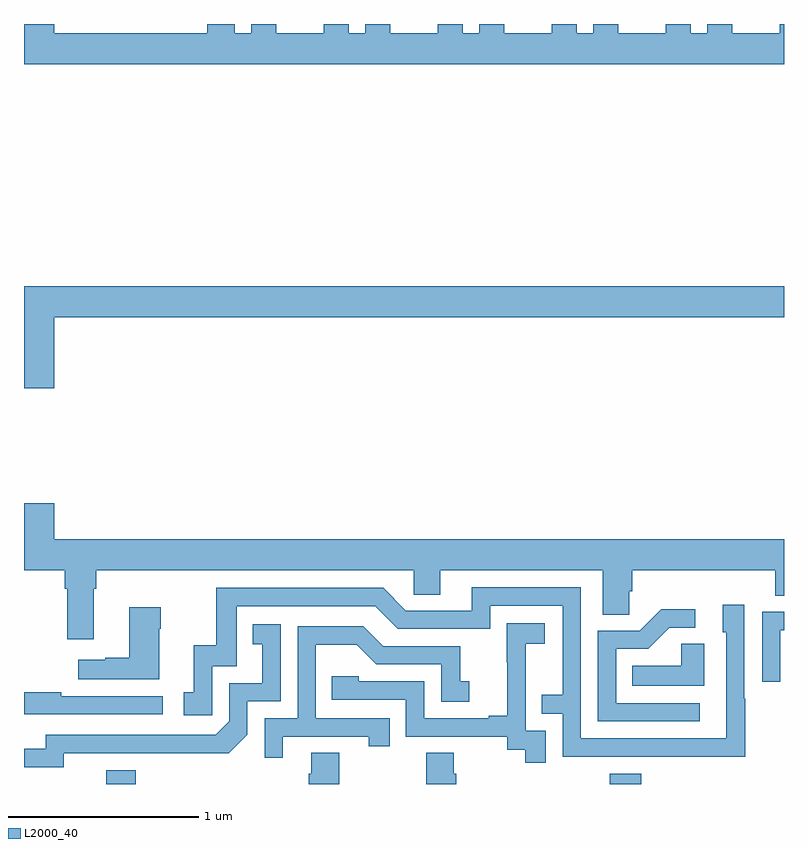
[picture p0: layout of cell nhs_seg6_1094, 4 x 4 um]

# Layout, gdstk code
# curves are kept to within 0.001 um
import gdstk
lib = gdstk.Library(unit=1e-6, precision=1e-09)
def R(c, l, rs):  # rectangles x0, y0, x1, y1
    for r in rs: c.add(gdstk.rectangle(r[:2], r[2:], *l))
def P(c, l, *ps):  # polygons
    for p in ps: c.add(gdstk.Polygon(p, *l))
L2000_40 = (2000, 40)

nhs_seg6_1094 = lib.new_cell('nhs_seg6_1094')
R(nhs_seg6_1094, L2000_40, [(177.434,991.5,177.587,991.573), (180.083,991.5,180.248,991.555)])
P(nhs_seg6_1094, L2000_40, [(181,995.5),(180.977,995.5),(180.977,995.452),(180.727,995.452),(180.727,995.5),(180.596,995.5),(180.596,995.452),(180.508,995.452),(180.508,995.5),(180.377,995.5),(180.377,995.452),(180.127,995.452),(180.127,995.5),(179.996,995.5),(179.996,995.452),(179.908,995.452),(179.908,995.5),(179.777,995.5),(179.777,995.452),(179.527,995.452),(179.527,995.5),(179.396,995.5),(179.396,995.452),(179.308,995.452),(179.308,995.5),(179.177,995.5),(179.177,995.452),(178.927,995.452),(178.927,995.5),(178.796,995.5),(178.796,995.452),(178.708,995.452),(178.708,995.5),(178.577,995.5),(178.577,995.452),(178.327,995.452),(178.327,995.5),(178.196,995.5),(178.196,995.452),(178.108,995.452),(178.108,995.5),(177.965,995.5),(177.965,995.452),(177.16,995.452),(177.16,995.5),(177,995.5),(177,995.288),(181,995.288)],
  [(177.16,993.956),(181,993.956),(181,994.12),(177,994.12),(177,993.582),(177.16,993.582)],
  [(177.367,992.528),(177.38,992.528),(177.38,992.624),(179.052,992.624),(179.052,992.497),(179.191,992.497),(179.191,992.624),(180.047,992.624),(180.047,992.392),(180.186,992.392),(180.186,992.515),(180.2,992.515),(180.2,992.624),(180.953,992.624),(180.953,992.491),(181,992.491),(181,992.788),(177.16,992.788),(177.16,992.977),(177,992.977),(177,992.624),(177.215,992.624),(177.215,992.528),(177.227,992.528),(177.227,992.262),(177.367,992.262)],
  [(180.795,991.949),(180.792,991.949),(180.792,992.443),(180.677,992.443),(180.677,992.298),(180.696,992.298),(180.696,991.74),(179.931,991.74),(179.931,992.535),(179.357,992.535),(179.357,992.412),(179.01,992.412),(178.89,992.532),(178.011,992.532),(178.011,992.23),(177.893,992.23),(177.893,991.983),(177.84,991.983),(177.84,991.863),(177.99,991.863),(177.99,992.121),(178.119,992.121),(178.119,992.436),(178.848,992.436),(178.968,992.316),(179.454,992.316),(179.454,992.439),(179.835,992.439),(179.835,991.97),(179.725,991.97),(179.725,991.869),(179.835,991.869),(179.835,991.644),(180.795,991.643)],
  [(177.712,992.318),(177.72,992.318),(177.72,992.431),(177.554,992.431),(177.554,992.165),(177.428,992.165),(177.428,992.155),(177.285,992.155),(177.285,992.051),(177.712,992.051)],
  [(180.556,991.926),(180.117,991.926),(180.117,992.211),(180.286,992.211),(180.397,992.322),(180.532,992.322),(180.532,992.42),(180.353,992.42),(180.24,992.307),(180.021,992.307),(180.021,991.83),(180.556,991.83)],
  [(180.981,992.31),(181,992.31),(181,992.406),(180.885,992.406),(180.885,992.037),(180.981,992.037)],
  [(179.745,991.779),(179.64,991.779),(179.64,992.009),(179.642,992.009),(179.642,992.237),(179.74,992.237),(179.74,992.347),(179.542,992.347),(179.542,992.141),(179.543,992.141),(179.543,991.858),(179.447,991.858),(179.447,991.845),(179.106,991.845),(179.106,992.04),(178.761,992.04),(178.761,992.067),(178.621,992.067),(178.621,991.944),(179.01,991.944),(179.01,991.749),(179.544,991.749),(179.544,991.681),(179.637,991.681),(179.637,991.611),(179.745,991.611)],
  [(177.21,991.662),(178.078,991.661),(178.176,991.758),(178.176,991.935),(178.35,991.935),(178.35,992.341),(178.204,992.341),(178.204,992.235),(178.253,992.235),(178.253,992.031),(178.08,992.031),(178.08,991.83),(178.008,991.758),(177.114,991.758),(177.114,991.686),(177,991.686),(177,991.589),(177.21,991.589)],
  [(178.363,991.749),(178.814,991.749),(178.814,991.698),(178.925,991.698),(178.925,991.845),(178.536,991.845),(178.536,992.234),(178.75,992.234),(178.854,992.13),(179.196,992.13),(179.196,991.932),(179.344,991.932),(179.344,992.041),(179.295,992.041),(179.295,992.226),(178.891,992.226),(178.786,992.331),(178.44,992.331),(178.44,991.845),(178.266,991.845),(178.266,991.638),(178.363,991.638)],
  [(180.58,992.237),(180.459,992.237),(180.459,992.122),(180.202,992.122),(180.202,992.018),(180.58,992.018)],
  [(177.73,991.962),(177.197,991.962),(177.197,991.982),(177,991.982),(177,991.866),(177.73,991.866)],
  [(178.659,991.664),(178.511,991.664),(178.511,991.554),(178.499,991.554),(178.499,991.5),(178.659,991.5)],
  [(179.276,991.554),(179.263,991.554),(179.263,991.664),(179.116,991.664),(179.116,991.5),(179.276,991.5)])

lib.write_gds('nhs_seg6_1094.gds')
